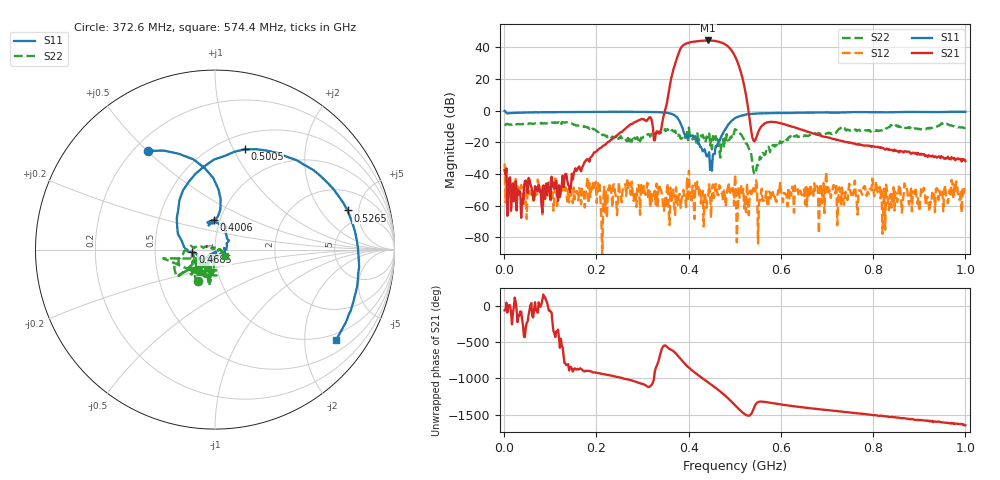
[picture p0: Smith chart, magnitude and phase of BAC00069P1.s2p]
!measured: 2026-10-27T15:03:27
!cal_instance: BBtestOct27
!cal_created: 2026-10-27T14:45
!cal_file: BBtesting.cal
!port1_delay_ps: -58.63
!port2_delay_ps: -59.31
!host: dhcp-10-250-247-203.harvard.edu
! Created with skrf 2.1.0 (http://scikit-rf.org).
# Hz S RI R 50.0
!freq ReS11 ImS11 ReS21 ImS21 ReS12 ImS12 ReS22 ImS22
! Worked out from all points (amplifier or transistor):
!   501 points, 1 MHz to 1 GHz, reference 50 ohm
!   highest |S21| = 44.4 dB at 442.6 MHz (marker M1)
!   |S21| within 3 dB of that: 388.5 MHz to 481.9 MHz (93.45 MHz wide, 21.5 % of centre)
!   unconditionally stable (mu >= 1): start of sweep to 396.5 MHz; 419.9 MHz to 500.3 MHz; 501.1 MHz to end of sweep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
!   at 166.8 MHz: K = 5604.67, MAG = -30.1 dB, |S12| = -59.0 dB
!   at 500.5 MHz: K = 0.83, MSG = 37.4 dB, |S12| = -40.3 dB
!   at 1 GHz: K = 969.19, MAG = -23.1 dB, |S12| = -51.4 dB
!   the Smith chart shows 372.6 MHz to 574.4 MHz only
!   S11 on the Smith chart (normalised r, x): 372.6 MHz: 0.26, +0.50; 400.6 MHz: 0.94, +0.32; 468.5 MHz: 0.78, -0.02; 500.5 MHz: 0.66, +1.11; 526.5 MHz: 3.51, +3.76; 574.4 MHz: 0.82, -2.79
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1000000  -0.3512 0.9171  0.00532 -0.0121  -0.0176 -0.012  0.37 -0.025
1.68832e8  0.5049 -0.759  -0.0148 -0.00548  0.000725 -0.00364  -0.0233 -0.319
3.34666e8  -0.8335 -0.3524  0.1515 -0.1316  -0.00051 -0.00309  0.0525 -0.206
3.72628e8  -0.3733 0.5497  18.73 32.27  -0.00369 -0.000909  -0.0959 -0.1725
3.86614e8  0.0312 0.2831  81.89 -75.66  -0.00174 -0.00114  -0.1271 -0.0732
3.94606e8  -0.0127 0.1455  -18.63 -131  -0.000403 -0.000803  -0.1157 -0.0914
4.006e8  -0.0043 0.1669  -93.03 -99.95  0.00121 -0.0126  -0.2881 -0.0487
4.12588e8  0.0229 0.1435  -147.3 42.43  -0.000375 2.55e-05  -0.0278 -0.1074
4.24576e8  0.0641 0.0335  -46.54 154.4  -0.00196 -0.00248  -0.0407 -0.1518
4.32568e8  0.0552 -0.0118  55.68 154.2  7.36e-05 0.000206  -0.0691 -0.1199
4.42558e8  0.0185 -0.036  151.3 69.25  0.00175 0.00101  -0.024 -0.1705
4.54546e8  -0.00791 -0.0411  138.5 -83.37  -0.00103 0.00142  -0.025 -0.1144
4.62538e8  -0.0646 -0.0572  54.33 -144.8  -0.0012 0.00186  -0.0464 -0.1189
4.68532e8  -0.1255 -0.0135  -23.98 -144.8  0.0036 0.000502  0.00183 -0.0329
4.82518e8  -0.2049 0.2204  -115.8 -8.704  0.00196 -0.00193  -0.0293 -0.1803
4.9051e8  -0.1107 0.4201  -64.82 62.83  -0.00292 -0.000635  -0.0798 -0.121
5.005e8  0.1651 0.5584  16.06 50.09  -0.00732 0.00622  -0.2147 -0.1497
5.26474e8  0.7384 0.218  0.7874 -1.908  -0.00167 0.00481  -0.0869 0.0201
5.74426e8  0.6719 -0.5036  -0.1423 0.4175  -0.00134 -0.00245  0.0555 -0.0371
6.68332e8  0.0874 -0.8754  0.172 0.0873  0.000695 -0.00171  0.0325 -0.1783
8.34166e8  -0.5936 -0.6676  0.000589 -0.0618  0.000428 0.000581  -0.1786 -0.2409
1e9  -0.8952 -0.2291  -0.0237 0.00985  0.00259 -0.000725  -0.239 -0.1672
